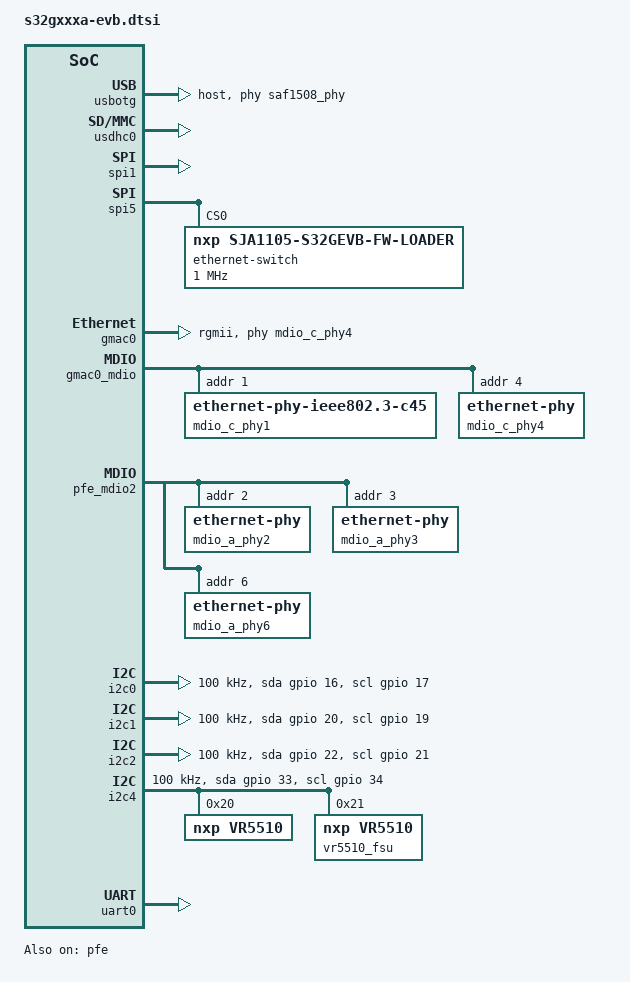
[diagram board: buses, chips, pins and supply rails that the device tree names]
// SPDX-License-Identifier: (GPL-2.0+ OR BSD-3-Clause)
/*
 * Copyright 2019-2024 NXP
 */

#include <dt-bindings/gpio/gpio.h>
#include "s32g-nxp-flash-macronix.dtsi"

/ {
	aliases {
		usb0 = &usbotg;
	};

	usbotg: usb@44064000 {
		compatible = "fsl,imx27-usb";
		reg = <0x0 0x44064000 0x0 0x200>;
		clocks = <&clks S32G_SCMI_CLK_USB_MEM>,
			   <&clks S32G_SCMI_CLK_USB_LOW>;
		pinctrl-0 = <&usb_pins>;
		pinctrl-names = "default";
		phys = <&saf1508_phy>;
		dr_mode = "host";
	};

	saf1508_phy: usb_phy@44064000 {
		compatible = "nxp,saf1508bet";
		reg = <0x0 0x44064000 0x0 0x200>;
		#phy-cells = <0>;
	};
};

&usdhc0 {
	pinctrl-names = "default", "state_100mhz", "state_200mhz";
	pinctrl-0 = <&sd0_pins_default>;
	pinctrl-1 = <&sd0_pins_100mhz>;
	pinctrl-2 = <&sd0_pins_200mhz>;
	mmc-hs200-1_8v;
	mmc-hs400-1_8v;
	mmc-hs400-enhanced-strobe;
	no-1-8-v;
	status = "okay";
};

&spi1 {
	pinctrl-0 = <&dspi1_pins>;
	pinctrl-names = "default";
	status = "okay";
};

&spi5 {
	pinctrl-0 = <&dspi5_pins>;
	pinctrl-names = "default";
	status = "okay";

	ethernet-switch@0 {
		compatible = "nxp,sja1105-s32gevb-fw-loader";
		spi-max-frequency = <1000000>;
		reg = <0>;
		spi-cpha;
	};
};

&gmac0 {
	status = "okay";
	phy-mode = "rgmii";
	phy-handle = <&mdio_c_phy4>;
};

&usbotg {
	status = "okay";
};

&gmac0_mdio {
	#address-cells = <1>;
	#size-cells = <0>;
	/* ARQ107 on S32RGV-VNP-PLAT */
	mdio_c_phy1: ethernet-phy@1 {
		compatible = "ethernet-phy-ieee802.3-c45";
		reg = <1>;
	};
	/* KSZ9031RNX on S32G-VNP-PROC */
	mdio_c_phy4: ethernet-phy@4 {
		reg = <4>;
		max-speed = <1000>;
	};
	/* KSZ9031RNX on S32RGV-VNP-PLAT */
	mdio_c_phy5: ethernet-phy@5 {
		status = "disabled"; /* blocked by USB by default */
		reg = <5>;
		max-speed = <1000>;
	};
};

&pfe {
	status = "okay";
	pinctrl-0 = <&pfe2_mdio_pins>, <&pfe2_pins>;
	pinctrl-1 = <&pfe2_mdio_pins>;
	pinctrl-names = "default", "pfe_sgmii";
};

&pfe_mdio0 {
	/* used by USB ULPI */
	status = "disabled";
};

&pfe_mdio1 {
	/* unused */
	status = "disabled";
};

&pfe_mdio2 {
	#address-cells = <1>;
	#size-cells = <0>;
	/* KSZ9031RNX over SJA1105Q P3 */
	mdio_a_phy2: ethernet-phy@2 {
		reg = <2>;
	};
	/* KSZ9031RNX over SJA1105Q P4 */
	mdio_a_phy3: ethernet-phy@3 {
		reg = <3>;
	};

	/* TJA1102 over SJA1105Q P1 */
	mdio_a_phy6: ethernet-phy@6 {
		#address-cells = <1>;
		#size-cells = <0>;
		reg = <6>;

		/* TJA1102 over SJA1105Q P2 */
		mdio_a_phy7: ethernet-phy@7 {
			reg = <7>;
		};
	};
};

&pfe_netif1 {
	phy-mode = "sgmii";
	phy-handle = <&mdio_c_phy1>;
	fixed-link {
		speed = <1000>;
		full-duplex;
	};
};

&pfe_netif2 {
	phy-mode = "rgmii";
	fixed-link {
		speed = <1000>;
		full-duplex;
	};
};

/* EEPROM */
&i2c0 {
	clock-frequency = <100000>;
	pinctrl-names = "default", "gpio";
	pinctrl-0 = <&i2c0_pins>;
	pinctrl-1 = <&i2c0_gpio_pins>;
	scl-gpios = <&gpio 17 (GPIO_ACTIVE_HIGH | GPIO_OPEN_DRAIN)>;
	sda-gpios = <&gpio 16 (GPIO_ACTIVE_HIGH | GPIO_OPEN_DRAIN)>;
	status = "okay";
};

/* Platform board PCI X16 EXPRESS - I2C_SCL_S0, I2C_SDA_S0  */
&i2c1 {
	clock-frequency = <100000>;
	pinctrl-names = "default", "gpio";
	pinctrl-0 = <&i2c1_pins>;
	pinctrl-1 = <&i2c1_gpio_pins>;
	scl-gpios = <&gpio 19 (GPIO_ACTIVE_HIGH | GPIO_OPEN_DRAIN)>;
	sda-gpios = <&gpio 20 (GPIO_ACTIVE_HIGH | GPIO_OPEN_DRAIN)>;
	status = "okay";
};

/* Platform board GPIO_J3-17 (SDA), GPIO_J3-19 (SCL0)  */
&i2c2 {
	clock-frequency = <100000>;
	pinctrl-names = "default", "gpio";
	pinctrl-0 = <&i2c2_pins>;
	pinctrl-1 = <&i2c2_gpio_pins>;
	scl-gpios = <&gpio 21 (GPIO_ACTIVE_HIGH | GPIO_OPEN_DRAIN)>;
	sda-gpios = <&gpio 22 (GPIO_ACTIVE_HIGH | GPIO_OPEN_DRAIN)>;
	status = "okay";
};

/* PMIC */
&i2c4 {
	status = "okay";
	pinctrl-names = "default", "gpio";
	pinctrl-0 = <&i2c4_pins>;
	pinctrl-1 = <&i2c4_gpio_pins>;
	scl-gpios = <&gpio 34 (GPIO_ACTIVE_HIGH | GPIO_OPEN_DRAIN)>;
	sda-gpios = <&gpio 33 (GPIO_ACTIVE_HIGH | GPIO_OPEN_DRAIN)>;
	clock-frequency = <100000>;

	vr5510@20 {
		compatible = "nxp,vr5510";
		reg = <0x20>;
		status = "okay";
	};

	vr5510_fsu@21 {
		compatible = "nxp,vr5510";
		reg = <0x21>;
		status = "okay";
	};
};

&pinctrl {
	u-boot,dm-pre-reloc;

	dspi1_pins: dspi1 {
		dspi1_grp0 {
			pinmux = <S32CC_PINMUX(6, FUNC2)>;
			output-enable;
			slew-rate = <S32CC_GPIO_3V3_SLEW_50MHZ>;
		};

		dspi1_grp1 {
			pinmux = <S32CC_PINMUX(7, FUNC2)>;
			output-enable;
			slew-rate = <S32CC_GPIO_3V3_SLEW_50MHZ>;
			bias-pull-up;
		};

		dspi1_grp2 {
			pinmux = <S32CC_PINMUX(8, FUNC3)>;
			output-enable;
			slew-rate = <S32CC_GPIO_3V3_SLEW_50MHZ>;
		};

		dspi1_grp3 {
			pinmux = <S32CC_PINMUX(95, FUNC0)>;
			input-enable;
			slew-rate = <S32CC_GPIO_3V3_SLEW_50MHZ>;
			bias-pull-up;
		};

		dspi1_grp4 {
			pinmux = <S32CC_PINMUX(987, FUNC2)>;
		};

	};

	dspi5_pins: dspi5 {
		dspi5_grp0 {
			pinmux = <S32CC_PINMUX(9, FUNC3)>,
				 <S32CC_PINMUX(11, FUNC3)>;
			output-enable;
			slew-rate = <S32CC_GPIO_3V3_SLEW_50MHZ>;
		};

		dspi5_grp1 {
			pinmux = <S32CC_PINMUX(10, FUNC0)>;
			input-enable;
			slew-rate = <S32CC_GPIO_3V3_SLEW_50MHZ>;
			bias-pull-up;
		};

		dspi5_grp2 {
			pinmux = <S32CC_PINMUX(12, FUNC3)>;
			output-enable;
			slew-rate = <S32CC_GPIO_3V3_SLEW_50MHZ>;
			bias-pull-up;
		};

		dspi5_grp3 {
			pinmux = <S32CC_PINMUX(1007, FUNC2)>;
		};

	};

	i2c0_pins: i2c0 {
		i2c0_grp0 {
			pinmux = <S32CC_PINMUX(16, FUNC1)>,
				 <S32CC_PINMUX(17, FUNC1)>;
			drive-open-drain;
			output-enable;
			input-enable;
			slew-rate = <S32CC_GPIO_3V3_SLEW_50MHZ>;
		};

		i2c0_grp1 {
			pinmux = <S32CC_PINMUX(565, FUNC2)>,
				 <S32CC_PINMUX(566, FUNC2)>;
		};

	};

	i2c0_gpio_pins: i2c0_gpio {
		i2c0_gpio_grp0 {
			pinmux = <S32CC_PINMUX(16, FUNC0)>,
				 <S32CC_PINMUX(17, FUNC0)>;
			drive-open-drain;
			output-enable;
			slew-rate = <S32CC_GPIO_3V3_SLEW_50MHZ>;
		};

		i2c0_gpio_grp1 {
			pinmux = <S32CC_PINMUX(565, FUNC0)>,
				 <S32CC_PINMUX(566, FUNC0)>;
		};

	};

	i2c1_pins: i2c1 {
		i2c1_grp0 {
			pinmux = <S32CC_PINMUX(19, FUNC1)>,
				 <S32CC_PINMUX(20, FUNC1)>;
			drive-open-drain;
			output-enable;
			input-enable;
			slew-rate = <S32CC_GPIO_3V3_SLEW_50MHZ>;
		};

		i2c1_grp1 {
			pinmux = <S32CC_PINMUX(717, FUNC2)>,
				 <S32CC_PINMUX(718, FUNC2)>;
		};

	};

	i2c1_gpio_pins: i2c1_gpio {
		i2c1_gpio_grp0 {
			pinmux = <S32CC_PINMUX(19, FUNC0)>,
				 <S32CC_PINMUX(20, FUNC0)>;
			drive-open-drain;
			output-enable;
			slew-rate = <S32CC_GPIO_3V3_SLEW_50MHZ>;
		};

		i2c1_gpio_grp1 {
			pinmux = <S32CC_PINMUX(717, FUNC0)>,
				 <S32CC_PINMUX(718, FUNC0)>;
		};

	};

	i2c2_pins: i2c2 {
		i2c2_grp0 {
			pinmux = <S32CC_PINMUX(21, FUNC1)>,
				 <S32CC_PINMUX(22, FUNC1)>;
			drive-open-drain;
			output-enable;
			input-enable;
			slew-rate = <S32CC_GPIO_3V3_SLEW_50MHZ>;
		};

		i2c2_grp1 {
			pinmux = <S32CC_PINMUX(719, FUNC2)>,
				 <S32CC_PINMUX(720, FUNC2)>;
		};

	};

	i2c2_gpio_pins: i2c2_gpio {
		i2c2_gpio_grp0 {
			pinmux = <S32CC_PINMUX(21, FUNC0)>,
				 <S32CC_PINMUX(22, FUNC0)>;
			drive-open-drain;
			output-enable;
			slew-rate = <S32CC_GPIO_3V3_SLEW_50MHZ>;
		};

		i2c2_gpio_grp1 {
			pinmux = <S32CC_PINMUX(719, FUNC0)>,
				 <S32CC_PINMUX(720, FUNC0)>;
		};

	};

	i2c4_pins: i2c4 {
		i2c4_grp0 {
			pinmux = <S32CC_PINMUX(33, FUNC1)>;
			drive-open-drain;
			output-enable;
			input-enable;
			slew-rate = <S32CC_GPIO_3V3_SLEW_50MHZ>;
		};

		i2c4_grp1 {
			pinmux = <S32CC_PINMUX(34, FUNC2)>;
			drive-open-drain;
			output-enable;
			input-enable;
			slew-rate = <S32CC_GPIO_3V3_SLEW_50MHZ>;
		};

		i2c4_grp2 {
			pinmux = <S32CC_PINMUX(724, FUNC3)>,
				 <S32CC_PINMUX(723, FUNC3)>;
		};

	};

	i2c4_gpio_pins: i2c4_gpio {
		i2c4_gpio_grp0 {
			pinmux = <S32CC_PINMUX(33, FUNC0)>,
				 <S32CC_PINMUX(34, FUNC0)>;
			drive-open-drain;
			output-enable;
			slew-rate = <S32CC_GPIO_3V3_SLEW_50MHZ>;
		};

		i2c4_gpio_grp1 {
			pinmux = <S32CC_PINMUX(724, FUNC0)>,
				 <S32CC_PINMUX(723, FUNC0)>;
		};

	};

	usb_pins: usb {
		usb_grp0 {
			pinmux = <S32CC_PINMUX(62, FUNC1)>,
				 <S32CC_PINMUX(63, FUNC1)>,
				 <S32CC_PINMUX(64, FUNC1)>,
				 <S32CC_PINMUX(65, FUNC1)>,
				 <S32CC_PINMUX(112, FUNC1)>,
				 <S32CC_PINMUX(188, FUNC1)>,
				 <S32CC_PINMUX(189, FUNC1)>,
				 <S32CC_PINMUX(190, FUNC1)>;
			output-enable;
			input-enable;
			slew-rate = <S32CC_FAST_SLEW_208MHZ>;
		};

		usb_grp1 {
			pinmux = <S32CC_PINMUX(184, FUNC0)>,
				 <S32CC_PINMUX(185, FUNC0)>,
				 <S32CC_PINMUX(187, FUNC0)>;
			input-enable;
			slew-rate = <S32CC_FAST_SLEW_208MHZ>;
		};

		usb_grp2 {
			pinmux = <S32CC_PINMUX(186, FUNC1)>;
			output-enable;
			slew-rate = <S32CC_FAST_SLEW_208MHZ>;
		};

		usb_grp3 {
			pinmux = <S32CC_PINMUX(895, FUNC2)>,
				 <S32CC_PINMUX(896, FUNC2)>,
				 <S32CC_PINMUX(897, FUNC2)>,
				 <S32CC_PINMUX(898, FUNC2)>,
				 <S32CC_PINMUX(899, FUNC2)>,
				 <S32CC_PINMUX(900, FUNC2)>,
				 <S32CC_PINMUX(901, FUNC2)>,
				 <S32CC_PINMUX(902, FUNC2)>,
				 <S32CC_PINMUX(903, FUNC2)>,
				 <S32CC_PINMUX(904, FUNC2)>,
				 <S32CC_PINMUX(905, FUNC2)>;
		};

	};

	uart0_pins: uart0 {
		uart0_grp0 {
			pinmux = <S32CC_PINMUX(41, FUNC1)>;
			output-enable;
			slew-rate = <S32CC_GPIO_3V3_SLEW_50MHZ>;
		};

		uart0_grp1 {
			pinmux = <S32CC_PINMUX(42, FUNC0)>;
			input-enable;
			slew-rate = <S32CC_GPIO_3V3_SLEW_50MHZ>;
		};

		uart0_pins_grp2 {
			pinmux = <S32CC_PINMUX(512, FUNC2)>;
		};
	};

	uart1_pins: uart1 {
		uart1_grp0 {
			pinmux = <S32CC_PINMUX(13, FUNC2)>;
			output-enable;
			slew-rate = <S32CC_GPIO_3V3_SLEW_50MHZ>;
		};

		uart1_grp1 {
			pinmux = <S32CC_PINMUX(16, FUNC0)>;
			input-enable;
			slew-rate = <S32CC_GPIO_3V3_SLEW_50MHZ>;
		};

		uart1_pins_grp2 {
			pinmux = <S32CC_PINMUX(736, FUNC2)>;
		};
	};
};

&uart0 {
	pinctrl-0 = <&uart0_pins>;
	pinctrl-names = "default";
	status = "okay";
};

&uart1 {
	pinctrl-0 = <&uart1_pins>;
	pinctrl-names = "default";
	status = "disabled";
};

&pfe_mac0_rmii {
	clock-frequency = <50000000>;
};

&pfe_mac1_rmii {
	clock-frequency = <50000000>;
};

&pfe_mac2_rmii {
	clock-frequency = <50000000>;
};
